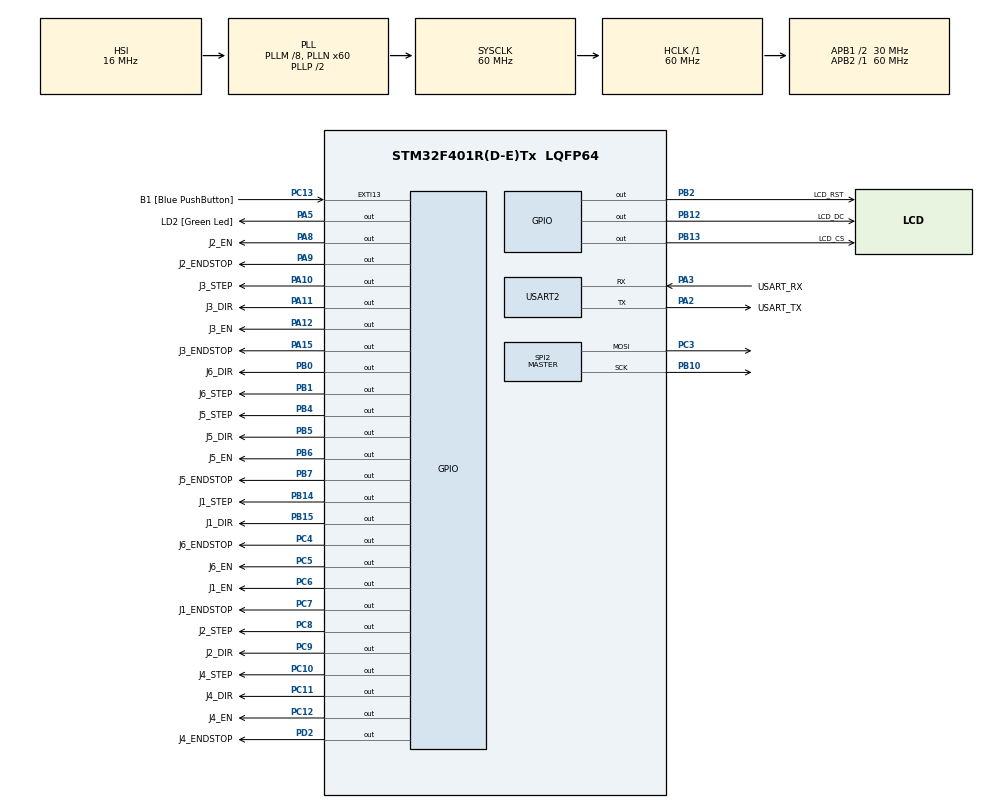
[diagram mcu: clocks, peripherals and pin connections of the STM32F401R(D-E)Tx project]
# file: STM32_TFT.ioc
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Dma.Request0=SPI2_TX
Dma.SPI2_TX.0.Direction=DMA_MEMORY_TO_PERIPH
Dma.SPI2_TX.0.FIFOMode=DMA_FIFOMODE_DISABLE
Dma.SPI2_TX.0.Instance=DMA1_Stream4
Dma.SPI2_TX.0.MemDataAlignment=DMA_MDATAALIGN_BYTE
Dma.SPI2_TX.0.MemInc=DMA_MINC_ENABLE
Dma.SPI2_TX.0.Mode=DMA_NORMAL
Dma.SPI2_TX.0.PeriphDataAlignment=DMA_PDATAALIGN_BYTE
Dma.SPI2_TX.0.PeriphInc=DMA_PINC_DISABLE
Dma.SPI2_TX.0.Priority=DMA_PRIORITY_LOW
Mcu.Family=STM32F4
Mcu.Name=STM32F401R(D-E)Tx
Mcu.Package=LQFP64
NVIC.DMA1_Stream4_IRQn=true\:0\:0\:false\:false\:true\:false\:true\:true
NVIC.PriorityGroup=NVIC_PRIORITYGROUP_0
PA10.GPIO_Label=J3_STEP
PA10.Signal=GPIO_Output
PA11.GPIO_Label=J3_DIR
PA11.Signal=GPIO_Output
PA12.GPIO_Label=J3_EN
PA12.Signal=GPIO_Output
PA13.GPIO_Label=TMS
PA13.Mode=Serial_Wire
PA13.Signal=SYS_JTMS-SWDIO
PA14.GPIO_Label=TCK
PA14.Mode=Serial_Wire
PA14.Signal=SYS_JTCK-SWCLK
PA15.GPIO_Label=J3_ENDSTOP
PA15.Signal=GPIO_Output
PA2.GPIO_Label=USART_TX
PA2.GPIO_Mode=GPIO_MODE_AF_PP
PA2.GPIO_PuPd=GPIO_NOPULL
PA2.GPIO_Speed=GPIO_SPEED_FREQ_LOW
PA2.Mode=Asynchronous
PA2.Signal=USART2_TX
PA3.GPIO_Label=USART_RX
PA3.GPIO_Mode=GPIO_MODE_AF_PP
PA3.GPIO_PuPd=GPIO_NOPULL
PA3.GPIO_Speed=GPIO_SPEED_FREQ_LOW
PA3.Mode=Asynchronous
PA3.Signal=USART2_RX
PA5.GPIO_Label=LD2 [Green Led]
PA5.GPIO_Mode=GPIO_MODE_OUTPUT_PP
PA5.GPIO_PuPd=GPIO_NOPULL
PA5.GPIO_Speed=GPIO_SPEED_FREQ_LOW
PA5.Signal=GPIO_Output
PA8.GPIO_Label=J2_EN
PA8.Signal=GPIO_Output
PA9.GPIO_Label=J2_ENDSTOP
PA9.Signal=GPIO_Output
PB0.GPIO_Label=J6_DIR
PB0.Signal=GPIO_Output
PB1.GPIO_Label=J6_STEP
PB1.Signal=GPIO_Output
PB10.Mode=TX_Only_Simplex_Unidirect_Master
PB10.Signal=SPI2_SCK
PB12.GPIO_Label=LCD_DC
PB12.Signal=GPIO_Output
PB13.GPIO_Label=LCD_CS
PB13.PinState=GPIO_PIN_SET
PB13.Signal=GPIO_Output
PB14.GPIO_Label=J1_STEP
PB14.Signal=GPIO_Output
PB15.GPIO_Label=J1_DIR
PB15.Signal=GPIO_Output
PB2.GPIO_Label=LCD_RST
PB2.Signal=GPIO_Output
PB3.GPIO_Label=SWO
PB3.Signal=SYS_JTDO-SWO
PB4.GPIO_Label=J5_STEP
PB4.Signal=GPIO_Output
PB5.GPIO_Label=J5_DIR
PB5.Signal=GPIO_Output
PB6.GPIO_Label=J5_EN
PB6.Signal=GPIO_Output
PB7.GPIO_Label=J5_ENDSTOP
PB7.Signal=GPIO_Output
PC10.GPIO_Label=J4_STEP
PC10.Signal=GPIO_Output
PC11.GPIO_Label=J4_DIR
PC11.Signal=GPIO_Output
PC12.GPIO_Label=J4_EN
PC12.Signal=GPIO_Output
PC13-ANTI_TAMP.GPIO_Label=B1 [Blue PushButton]
PC13-ANTI_TAMP.GPIO_ModeDefaultEXTI=GPIO_MODE_IT_FALLING
PC13-ANTI_TAMP.GPIO_PuPd=GPIO_NOPULL
PC13-ANTI_TAMP.Signal=GPXTI13
PC14-OSC32_IN.Mode=LSE-External-Oscillator
PC14-OSC32_IN.Signal=RCC_OSC32_IN
PC15-OSC32_OUT.Mode=LSE-External-Oscillator
PC15-OSC32_OUT.Signal=RCC_OSC32_OUT
PC3.Mode=TX_Only_Simplex_Unidirect_Master
PC3.Signal=SPI2_MOSI
PC4.GPIO_Label=J6_ENDSTOP
PC4.Signal=GPIO_Output
PC5.GPIO_Label=J6_EN
PC5.Signal=GPIO_Output
PC6.GPIO_Label=J1_EN
PC6.Signal=GPIO_Output
PC7.GPIO_Label=J1_ENDSTOP
PC7.Signal=GPIO_Output
PC8.GPIO_Label=J2_STEP
PC8.Signal=GPIO_Output
PC9.GPIO_Label=J2_DIR
PC9.Signal=GPIO_Output
PD2.GPIO_Label=J4_ENDSTOP
PD2.Signal=GPIO_Output
PH0\ -\ OSC_IN.Mode=HSE-External-Clock-Source
PH0\ -\ OSC_IN.Signal=RCC_OSC_IN
PH1\ -\ OSC_OUT.Mode=HSE-External-Clock-Source
PH1\ -\ OSC_OUT.Signal=RCC_OSC_OUT
ProjectManager.HeapSize=0x200
ProjectManager.StackSize=0x2000
ProjectManager.TargetToolchain=STM32CubeIDE
RCC.48MHZClocksFreq_Value=17142857.14285714
RCC.AHBFreq_Value=60000000
RCC.APB1CLKDivider=RCC_HCLK_DIV2
RCC.APB1Freq_Value=30000000
RCC.APB1TimFreq_Value=60000000
RCC.APB2Freq_Value=60000000
RCC.APB2TimFreq_Value=60000000
RCC.CortexFreq_Value=60000000
RCC.HCLKFreq_Value=60000000
RCC.HSE_VALUE=8000000
RCC.HSI_VALUE=16000000
RCC.PLLM=8
RCC.PLLN=60
RCC.PLLQ=7
RCC.SYSCLKFreq_VALUE=60000000
RCC.SYSCLKSource=RCC_SYSCLKSOURCE_PLLCLK
RCC.VCOOutputFreq_Value=120000000
SPI2.BaudRatePrescaler=SPI_BAUDRATEPRESCALER_8
SPI2.Direction=SPI_DIRECTION_2LINES
SPI2.Mode=SPI_MODE_MASTER
SPI2.VirtualType=VM_MASTER
USART2.VirtualMode=VM_ASYNC
board=NUCLEO-F401RE

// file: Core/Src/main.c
/* USER CODE BEGIN Header */
/**
  ******************************************************************************
  * @file           : main.c
  * @brief          : Main program body
  ******************************************************************************
  * @attention
  *
  * Copyright (c) 2023 STMicroelectronics.
  * All rights reserved.
  *
  * This software is licensed under terms that can be found in the LICENSE file
  * in the root directory of this software component.
  * If no LICENSE file comes with this software, it is provided AS-IS.
  *
  ******************************************************************************
  */
/* USER CODE END Header */
#include "main.h"
#include "dma.h"
#include "spi.h"
#include "usart.h"
#include "gpio.h"

/* USER CODE BEGIN Includes */

#include "hagl.h"
#include "font6x9.h"
#include "font5x7.h"
#include "font10x20_ISO8859_1.h"
#include "../../tft_lcd/fonts/font7x13B-ISO8859-1.h"
#include "rgb565.h"
//#include "logo.c"

/* USER CODE END Includes */

void SystemClock_Config(void);

/* USER CODE BEGIN 0 */

void HAL_SPI_TxCpltCallback(SPI_HandleTypeDef *hspi)
{
    if (hspi == &hspi2)
    {
        lcd_transfer_done();
    }
}

/* USER CODE END 0 */

int main(void)
{

  /* MCU Configuration--------------------------------------------------------*/

  /* Reset of all peripherals, Initializes the Flash interface and the Systick. */
  HAL_Init();

  /* Configure the system clock */
  SystemClock_Config();

  /* Initialize all configured peripherals */
  MX_GPIO_Init();
  MX_DMA_Init();
  MX_USART2_UART_Init();
  MX_SPI2_Init();

  /* Infinite loop */
  /* USER CODE BEGIN WHILE */
    hagl_backend_t* display = hagl_init();

    hagl_clear(display);

    hagl_put_text(display, L"Hello World!", 5, 20, rgb565(255, 255, 255), font10x20_ISO8859_1);

    hagl_put_text(display, L"Hello World!", 5, 70, rgb565(255, 255, 255), font7x13B_ISO8859_1);

    hagl_put_text(display, L"Hello World!", 5, 100, rgb565(255, 255, 255), font5x7);
    hagl_flush(display);

    for(int z = 0; z < 500; z++){
        for(int i = 0; i < 100; i++){
            hagl_fill_rectangle_xywh(display, 10, 50, i, 20, rgb565(255, 255, 0));
            HAL_Delay(50);
            hagl_flush(display);
        }
        for(int i = 100; i > 0; i--){
            hagl_clear(display);
            hagl_fill_rectangle_xywh(display, 10, 50, i, 20, rgb565(255, 255, 0));
            HAL_Delay(50);
            hagl_flush(display);
        }
    }
    hagl_flush(display);

    //lcd_fill_box(0,0,160,128, BLACK);

    //lcd_draw_image(16,0,128,128, logo);

  while (1)
  {
    /* USER CODE END WHILE */

  }
}

void SystemClock_Config(void)
{
  RCC_OscInitTypeDef RCC_OscInitStruct = {0};
  RCC_ClkInitTypeDef RCC_ClkInitStruct = {0};

  /** Configure the main internal regulator output voltage
  */
  __HAL_RCC_PWR_CLK_ENABLE();
  __HAL_PWR_VOLTAGESCALING_CONFIG(PWR_REGULATOR_VOLTAGE_SCALE2);

  /** Initializes the RCC Oscillators according to the specified parameters
  * in the RCC_OscInitTypeDef structure.
  */
  RCC_OscInitStruct.OscillatorType = RCC_OSCILLATORTYPE_HSI;
  RCC_OscInitStruct.HSIState = RCC_HSI_ON;
  RCC_OscInitStruct.HSICalibrationValue = RCC_HSICALIBRATION_DEFAULT;
  RCC_OscInitStruct.PLL.PLLState = RCC_PLL_ON;
  RCC_OscInitStruct.PLL.PLLSource = RCC_PLLSOURCE_HSI;
  RCC_OscInitStruct.PLL.PLLM = 8;
  RCC_OscInitStruct.PLL.PLLN = 60;
  RCC_OscInitStruct.PLL.PLLP = RCC_PLLP_DIV2;
  RCC_OscInitStruct.PLL.PLLQ = 7;
  if (HAL_RCC_OscConfig(&RCC_OscInitStruct) != HAL_OK)
  {
    Error_Handler();
  }

  /** Initializes the CPU, AHB and APB buses clocks
  */
  RCC_ClkInitStruct.ClockType = RCC_CLOCKTYPE_HCLK|RCC_CLOCKTYPE_SYSCLK
                              |RCC_CLOCKTYPE_PCLK1|RCC_CLOCKTYPE_PCLK2;
  RCC_ClkInitStruct.SYSCLKSource = RCC_SYSCLKSOURCE_PLLCLK;
  RCC_ClkInitStruct.AHBCLKDivider = RCC_SYSCLK_DIV1;
  RCC_ClkInitStruct.APB1CLKDivider = RCC_HCLK_DIV2;
  RCC_ClkInitStruct.APB2CLKDivider = RCC_HCLK_DIV1;

  if (HAL_RCC_ClockConfig(&RCC_ClkInitStruct, FLASH_LATENCY_1) != HAL_OK)
  {
    Error_Handler();
  }
}

void Error_Handler(void)
{
  __disable_irq();
  while (1)
  {
  }
}
